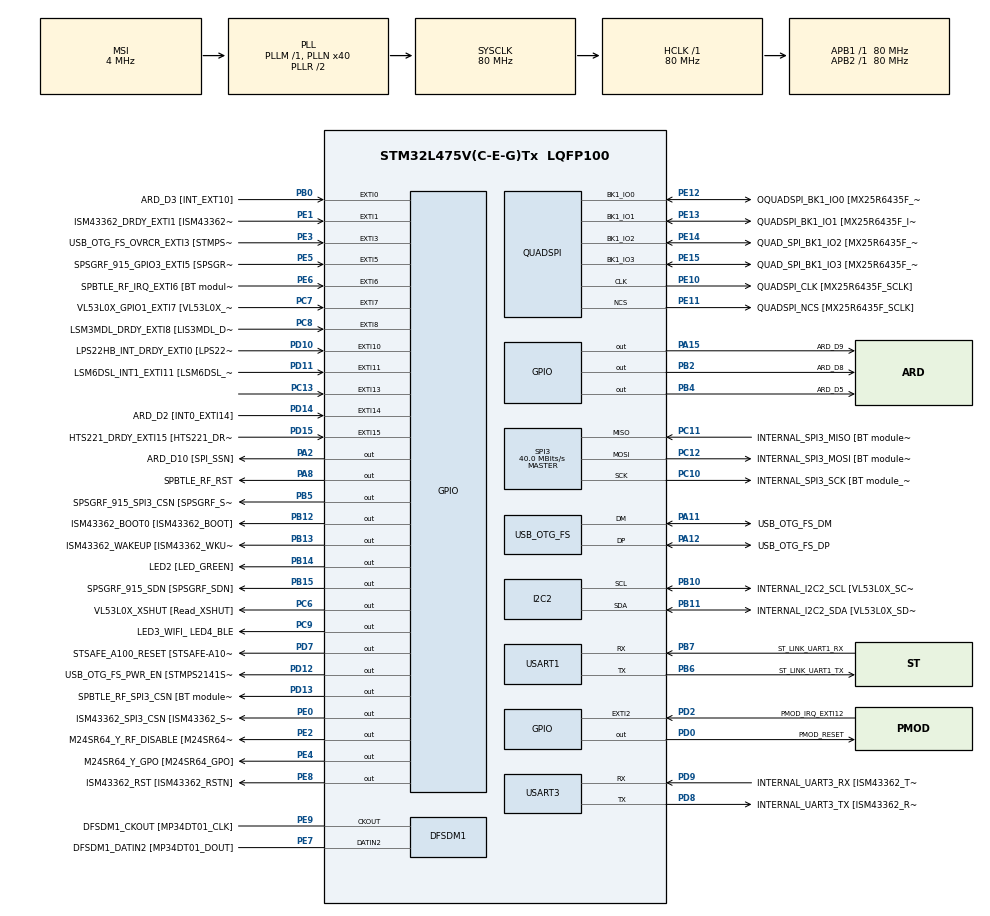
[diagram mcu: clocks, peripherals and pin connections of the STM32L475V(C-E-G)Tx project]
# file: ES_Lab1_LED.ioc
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FREERTOS.BinarySemaphores01=myBinarySem02,Dynamic,NULL,Available
FREERTOS.Mutexes01=myMutex01,Dynamic,NULL,Available
FREERTOS.Queues01=myQueue01,1,uint16_t,0,Dynamic,NULL,NULL
FREERTOS.Tasks01=myTask01,24,128,StartTask01,Default,NULL,Dynamic,NULL,NULL;myTask02,47,128,StartTask02,Default,NULL,Dynamic,NULL,NULL
FREERTOS.Timers01=myTimer01,Callback01,osTimerPeriodic,Default,NULL,Dynamic,NULL
I2C2.Timing=0x10D19CE4
Mcu.Family=STM32L4
Mcu.Name=STM32L475V(C-E-G)Tx
Mcu.Package=LQFP100
NVIC.EXTI15_10_IRQn=true\:5\:0\:false\:false\:true\:true\:true\:true\:true
NVIC.EXTI9_5_IRQn=true\:5\:0\:false\:false\:true\:true\:true\:true\:true
NVIC.PriorityGroup=NVIC_PRIORITYGROUP_4
PA0.GPIO_Label=ARD_D1 [UART4_TX]
PA0.Signal=UART4_TX
PA1.GPIO_Label=ARD_D0 [UART4_RX]
PA1.Signal=UART4_RX
PA10.GPIO_Label=USB_OTG_FS_ID
PA10.Signal=USB_OTG_FS_ID
PA11.GPIO_Label=USB_OTG_FS_DM
PA11.Mode=Device_Only
PA11.Signal=USB_OTG_FS_DM
PA12.GPIO_Label=USB_OTG_FS_DP
PA12.Mode=Device_Only
PA12.Signal=USB_OTG_FS_DP
PA13\ (JTMS-SWDIO).GPIO_Label=SYS_JTMS_SWDIO
PA13\ (JTMS-SWDIO).Mode=Serial_Wire
PA13\ (JTMS-SWDIO).Signal=SYS_JTMS-SWDIO
PA14\ (JTCK-SWCLK).GPIO_Label=SYS_JTCK_SWCLK
PA14\ (JTCK-SWCLK).Mode=Serial_Wire
PA14\ (JTCK-SWCLK).Signal=SYS_JTCK-SWCLK
PA15\ (JTDI).GPIO_Label=ARD_D9
PA15\ (JTDI).Signal=GPIO_Output
PA2.GPIO_Label=ARD_D10 [SPI_SSN]
PA2.Signal=GPIO_Output
PA3.GPIO_Label=ARD_D4
PA3.Signal=S_TIM2_CH4
PA4.GPIO_Label=ARD_D7
PA4.Signal=ADCx_IN9
PA5.GPIO_Label=ARD_D13 [SPI1_SCK]
PA5.Signal=SPI1_SCK
PA6.GPIO_Label=ARD_D12 [SPI1_MISO]
PA6.Signal=SPI1_MISO
PA7.GPIO_Label=ARD_D11 [SPI1_MOSI]
PA7.Signal=SPI1_MOSI
PA8.GPIO_Label=SPBTLE_RF_RST
PA8.Signal=GPIO_Output
PA9.GPIO_Label=USB_OTG_FS_VBUS [STMPS2141STR_OUT]
PA9.Signal=USB_OTG_FS_VBUS
PB0.GPIO_Label=ARD_D3 [INT_EXT10]
PB0.Signal=GPXTI0
PB1.GPIO_Label=ARD_D6 [ADC1_IN6]
PB1.Signal=ADCx_IN16
PB10.GPIO_Label=INTERNAL_I2C2_SCL [VL53L0X_SCL]
PB10.GPIO_Pu=GPIO_PULLUP
PB10.Mode=I2C
PB10.Signal=I2C2_SCL
PB11.GPIO_Label=INTERNAL_I2C2_SDA [VL53L0X_SDA]
PB11.GPIO_Pu=GPIO_PULLUP
PB11.Mode=I2C
PB11.Signal=I2C2_SDA
PB12.GPIO_Label=ISM43362_BOOT0 [ISM43362_BOOT]
PB12.Signal=GPIO_Output
PB13.GPIO_Label=ISM43362_WAKEUP [ISM43362_WKUP]
PB13.Signal=GPIO_Output
PB14.GPIO_Label=LED2 [LED_GREEN]
PB14.Signal=GPIO_Output
PB15.GPIO_Label=SPSGRF_915_SDN [SPSGRF_SDN]
PB15.Signal=GPIO_Output
PB2.GPIO_Label=ARD_D8
PB2.Signal=GPIO_Output
PB3\ (JTDO-TRACESWO).GPIO_Label=SYS_JTD0_SWO
PB3\ (JTDO-TRACESWO).Signal=SYS_JTDO-SWO
PB4\ (NJTRST).GPIO_Label=ARD_D5
PB4\ (NJTRST).Signal=GPIO_Output
PB5.GPIO_Label=SPSGRF_915_SPI3_CSN [SPSGRF_SPI_CS]
PB5.PinState=GPIO_PIN_SET
PB5.Signal=GPIO_Output
PB6.GPIO_Label=ST_LINK_UART1_TX
PB6.Mode=Asynchronous
PB6.Signal=USART1_TX
PB7.GPIO_Label=ST_LINK_UART1_RX
PB7.Mode=Asynchronous
PB7.Signal=USART1_RX
PB8.GPIO_Label=ARD_D15 [I2C1_SCL]
PB8.Signal=I2C1_SCL
PB9.GPIO_Label=ARD_D14 [I2C1_SDA]
PB9.Signal=I2C1_SDA
PC0.GPIO_Label=ARD_A5 [ADC]
PC0.Signal=ADCx_IN1
PC1.GPIO_Label=ARD_A4 [ADC]
PC1.Signal=ADCx_IN2
PC10.GPIO_Label=INTERNAL_SPI3_SCK [BT module_SPI_SCLK] [ISM43362_SCK]
PC10.Mode=Full_Duplex_Master
PC10.Signal=SPI3_SCK
PC11.GPIO_Label=INTERNAL_SPI3_MISO [BT module_SPI_MISO] [ISM43362_MISO]
PC11.Mode=Full_Duplex_Master
PC11.Signal=SPI3_MISO
PC12.GPIO_Label=INTERNAL_SPI3_MOSI [BT module_SPI_MOSI] [ISM43362_MOSI]
PC12.Mode=Full_Duplex_Master
PC12.Signal=SPI3_MOSI
PC13.GPIO_ModeDefaultEXTI=GPIO_MODE_IT_RISING_FALLING
PC13.Signal=GPXTI13
PC14-OSC32_IN\ (PC14).Mode=LSE-External-Oscillator
PC14-OSC32_IN\ (PC14).Signal=RCC_OSC32_IN
PC15-OSC32_OUT\ (PC15).Mode=LSE-External-Oscillator
PC15-OSC32_OUT\ (PC15).Signal=RCC_OSC32_OUT
PC2.GPIO_Label=ARD_A3 [ADC]
PC2.Signal=ADCx_IN3
PC3.GPIO_Label=ARD_A2 [ADC]
PC3.Signal=ADCx_IN4
PC4.GPIO_Label=ARD_A1 [ADC]
PC4.Signal=ADCx_IN13
PC5.GPIO_Label=ARD_A0 [ADC]
PC5.Signal=ADCx_IN14
PC6.GPIO_Label=VL53L0X_XSHUT [Read_XSHUT]
PC6.Signal=GPIO_Output
PC7.GPIO_Label=VL53L0X_GPIO1_EXTI7 [VL53L0X_GPIO1]
PC7.Signal=GPXTI7
PC8.GPIO_Label=LSM3MDL_DRDY_EXTI8 [LIS3MDL_DRDY]
PC8.Signal=GPXTI8
PC9.GPIO_Label=LED3_WIFI_ LED4_BLE
PC9.Signal=GPIO_Output
PD0.GPIO_Label=PMOD_RESET
PD0.Signal=GPIO_Output
PD1.GPIO_Label=PMOD_SPI2_SCK
PD1.Signal=SPI2_SCK
PD10.GPIO_Label=LPS22HB_INT_DRDY_EXTI0 [LPS22HB_INT_DRDY] 
PD10.Signal=GPXTI10
PD11.GPIO_Label=LSM6DSL_INT1_EXTI11 [LSM6DSL_INT1]
PD11.Signal=GPXTI11
PD12.GPIO_Label=USB_OTG_FS_PWR_EN [STMPS2141STR_EN]
PD12.Signal=GPIO_Output
PD13.GPIO_Label=SPBTLE_RF_SPI3_CSN [BT module_SPI_CS]
PD13.PinState=GPIO_PIN_SET
PD13.Signal=GPIO_Output
PD14.GPIO_Label=ARD_D2 [INT0_EXTI14]
PD14.Signal=GPXTI14
PD15.GPIO_Label=HTS221_DRDY_EXTI15 [HTS221_DRDY]
PD15.Signal=GPXTI15
PD2.GPIO_Label=PMOD_IRQ_EXTI12
PD2.Signal=GPXTI2
PD3.GPIO_Label=PMOD_UART2_CTS
PD3.Signal=USART2_CTS
PD4.GPIO_Label=PMOD_UART2_RTS
PD4.Signal=USART2_RTS
PD5.GPIO_Label=PMOD_UART2_TX
PD5.Signal=USART2_TX
PD6.GPIO_Label=PMOD_UART2_RX
PD6.Signal=USART2_RX
PD7.GPIO_Label=STSAFE_A100_RESET [STSAFE-A100_RESET]
PD7.Signal=GPIO_Output
PD8.GPIO_Label=INTERNAL_UART3_TX [ISM43362_RX]
PD8.Mode=Asynchronous
PD8.Signal=USART3_TX
PD9.GPIO_Label=INTERNAL_UART3_RX [ISM43362_TX]
PD9.Mode=Asynchronous
PD9.Signal=USART3_RX
PE0.GPIO_Label=ISM43362_SPI3_CSN [ISM43362_SSN]
PE0.PinState=GPIO_PIN_SET
PE0.Signal=GPIO_Output
PE1.GPIO_Label=ISM43362_DRDY_EXTI1 [ISM43362_DATARDY]
PE1.Signal=GPXTI1
PE10.GPIO_Label=QUADSPI_CLK [MX25R6435F_SCLK]
PE10.Mode=Single Bank
PE10.Signal=QUADSPI_CLK
PE11.GPIO_Label=QUADSPI_NCS [MX25R6435F_SCLK]
PE11.Mode=Single Bank
PE11.Signal=QUADSPI_NCS
PE12.GPIO_Label=OQUADSPI_BK1_IO0 [MX25R6435F_IO0]
PE12.Mode=Single Bank
PE12.Signal=QUADSPI_BK1_IO0
PE13.GPIO_Label=QUADSPI_BK1_IO1 [MX25R6435F_IO1]
PE13.Mode=Single Bank
PE13.Signal=QUADSPI_BK1_IO1
PE14.GPIO_Label=QUAD_SPI_BK1_IO2 [MX25R6435F_IO2]
PE14.Mode=Single Bank
PE14.Signal=QUADSPI_BK1_IO2
PE15.GPIO_Label=QUAD_SPI_BK1_IO3 [MX25R6435F_IO3]
PE15.Mode=Single Bank
PE15.Signal=QUADSPI_BK1_IO3
PE2.GPIO_Label=M24SR64_Y_RF_DISABLE [M24SR64_RFDIS]
PE2.Signal=GPIO_Output
PE3.GPIO_Label=USB_OTG_FS_OVRCR_EXTI3 [STMPS2141STR_FAULT]
PE3.Signal=GPXTI3
PE4.GPIO_Label=M24SR64_Y_GPO [M24SR64_GPO]
PE4.Signal=GPIO_Output
PE5.GPIO_Label=SPSGRF_915_GPIO3_EXTI5 [SPSGRF_GPIO_3]
PE5.Signal=GPXTI5
PE6.GPIO_Label=SPBTLE_RF_IRQ_EXTI6 [BT module_SPI_IRQ]
PE6.Signal=GPXTI6
PE7.GPIO_Label=DFSDM1_DATIN2 [MP34DT01_DOUT]
PE7.Signal=S_DATAIN2DFSDM1
PE8.GPIO_Label=ISM43362_RST [ISM43362_RSTN]
PE8.Signal=GPIO_Output
PE9.GPIO_Label=DFSDM1_CKOUT [MP34DT01_CLK]
PE9.Signal=S_CKOUTDFSDM1
ProjectManager.HeapSize=0x200
ProjectManager.StackSize=0x400
ProjectManager.TargetToolchain=STM32CubeIDE
QUADSPI.ClockPrescaler=2
QUADSPI.FifoThreshold=4
QUADSPI.FlashSize=23
QUADSPI.SampleShifting=QSPI_SAMPLE_SHIFTING_HALFCYCLE
RCC.ADCFreq_Value=48000000
RCC.AHBFreq_Value=80000000
RCC.APB1Freq_Value=80000000
RCC.APB1TimFreq_Value=80000000
RCC.APB2Freq_Value=80000000
RCC.APB2TimFreq_Value=80000000
RCC.CortexFreq_Value=80000000
RCC.HCLKFreq_Value=80000000
RCC.HSE_VALUE=8000000
RCC.HSI_VALUE=16000000
RCC.MSI_VALUE=4000000
RCC.PLLN=40
RCC.PLLSAI1N=24
RCC.SYSCLKFreq_VALUE=80000000
RCC.SYSCLKSource=RCC_SYSCLKSOURCE_PLLCLK
RCC.USBFreq_Value=48000000
RCC.VCOOutputFreq_Value=160000000
SH.ADCx_IN1.0=ADC1_IN1
SH.ADCx_IN13.0=ADC1_IN13
SH.ADCx_IN14.0=ADC1_IN14
SH.ADCx_IN16.0=ADC1_IN16
SH.ADCx_IN2.0=ADC1_IN2
SH.ADCx_IN3.0=ADC1_IN3
SH.ADCx_IN4.0=ADC1_IN4
SH.ADCx_IN9.0=ADC1_IN9
SH.S_CKOUTDFSDM1.0=DFSDM1_CKOUT,CKOUT
SH.S_CKOUTDFSDM1.1=DFSDM1_CKOUT,PDM_SPI_Input_from_ch12_and_Internal_Clock
SH.S_DATAIN2DFSDM1.0=DFSDM1_DATIN2,PDM_SPI_Input_from_ch12_and_Internal_Clock
SH.S_TIM2_CH4.0=TIM2_CH4
SPI3.CalculateBaudRate=40.0 MBits/s
SPI3.Direction=SPI_DIRECTION_2LINES
SPI3.Mode=SPI_MODE_MASTER
SPI3.VirtualType=VM_MASTER
USART1.VirtualMode-Asynchronous=VM_ASYNC
USART3.VirtualMode-Asynchronous=VM_ASYNC
USB_OTG_FS.VirtualMode=Device_Only
VP_FREERTOS_VS_CMSIS_V2.Mode=CMSIS_V2
board=B-L475E-IOT01A2

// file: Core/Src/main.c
/* USER CODE BEGIN Header */
/**
  ******************************************************************************
  * @file           : main.c
  * @brief          : Main program body
  ******************************************************************************
  * @attention
  *
  * Copyright (c) 2025 STMicroelectronics.
  * All rights reserved.
  *
  * This software is licensed under terms that can be found in the LICENSE file
  * in the root directory of this software component.
  * If no LICENSE file comes with this software, it is provided AS-IS.
  *
  ******************************************************************************
  */
/* USER CODE END Header */
#include "main.h"
#include "cmsis_os.h"

DFSDM_Channel_HandleTypeDef hdfsdm1_channel1;

I2C_HandleTypeDef hi2c2;

QSPI_HandleTypeDef hqspi;

SPI_HandleTypeDef hspi3;

UART_HandleTypeDef huart1;
UART_HandleTypeDef huart3;

PCD_HandleTypeDef hpcd_USB_OTG_FS;

/* Definitions for myTask01 */
osThreadId_t myTask01Handle;
const osThreadAttr_t myTask01_attributes = {
  .name = "myTask01",
  .stack_size = 128 * 4,
  .priority = (osPriority_t) osPriorityNormal,
};
/* Definitions for myTask02 */
osThreadId_t myTask02Handle;
const osThreadAttr_t myTask02_attributes = {
  .name = "myTask02",
  .stack_size = 128 * 4,
  .priority = (osPriority_t) osPriorityHigh7,
};
/* Definitions for myQueue01 */
osMessageQueueId_t myQueue01Handle;
const osMessageQueueAttr_t myQueue01_attributes = {
  .name = "myQueue01"
};
/* Definitions for myTimer01 */
osTimerId_t myTimer01Handle;
const osTimerAttr_t myTimer01_attributes = {
  .name = "myTimer01"
};
/* Definitions for myMutex01 */
osMutexId_t myMutex01Handle;
const osMutexAttr_t myMutex01_attributes = {
  .name = "myMutex01"
};
/* Definitions for myBinarySem02 */
osSemaphoreId_t myBinarySem02Handle;
const osSemaphoreAttr_t myBinarySem02_attributes = {
  .name = "myBinarySem02"
};
/* USER CODE BEGIN PV */
osThreadId_t buttonTaskHandle;
const osThreadAttr_t buttonTask_attributes = {
  .name = "buttonTask",
  .stack_size = 128 * 4,
  .priority = (osPriority_t) osPriorityHigh7,
};
/* USER CODE END PV */

void SystemClock_Config(void);
static void MX_GPIO_Init(void);
static void MX_DFSDM1_Init(void);
static void MX_I2C2_Init(void);
static void MX_QUADSPI_Init(void);
static void MX_SPI3_Init(void);
static void MX_USART1_UART_Init(void);
static void MX_USART3_UART_Init(void);
static void MX_USB_OTG_FS_PCD_Init(void);
void StartTask01(void *argument);
void StartTask02(void *argument);
void Callback01(void *argument);

/* USER CODE BEGIN 0 */
uint32_t timestamp;
uint16_t blink_mode;
/* USER CODE END 0 */

int main(void)
{

  /* MCU Configuration--------------------------------------------------------*/

  /* Reset of all peripherals, Initializes the Flash interface and the Systick. */
  HAL_Init();

  /* Configure the system clock */
  SystemClock_Config();

  /* Initialize all configured peripherals */
  MX_GPIO_Init();
  MX_DFSDM1_Init();
  MX_I2C2_Init();
  MX_QUADSPI_Init();
  MX_SPI3_Init();
  MX_USART1_UART_Init();
  MX_USART3_UART_Init();
  MX_USB_OTG_FS_PCD_Init();

  /* Init scheduler */
  osKernelInitialize();
  /* Create the mutex(es) */
  /* creation of myMutex01 */
  myMutex01Handle = osMutexNew(&myMutex01_attributes);

  /* Create the semaphores(s) */
  /* creation of myBinarySem02 */
  myBinarySem02Handle = osSemaphoreNew(1, 1, &myBinarySem02_attributes);

  /* Create the timer(s) */
  /* creation of myTimer01 */
  myTimer01Handle = osTimerNew(Callback01, osTimerPeriodic, NULL, &myTimer01_attributes);

  /* USER CODE BEGIN RTOS_TIMERS */
  /* start timers, add new ones, ... */
  osTimerStart(myTimer01Handle, 10000);
  /* USER CODE END RTOS_TIMERS */

  /* Create the queue(s) */
  /* creation of myQueue01 */
  myQueue01Handle = osMessageQueueNew (1, sizeof(uint16_t), &myQueue01_attributes);

  /* Create the thread(s) */
  /* creation of myTask01 */
  myTask01Handle = osThreadNew(StartTask01, NULL, &myTask01_attributes);

  /* creation of myTask02 */
  myTask02Handle = osThreadNew(StartTask02, NULL, &myTask02_attributes);

  /* USER CODE BEGIN RTOS_THREADS */
  /* add threads, ... */
  //buttonTaskHandle = osThreadNew(StartButtonTask, NULL, &buttonTask_attributes);
  /* USER CODE END RTOS_THREADS */

  /* Start scheduler */
  osKernelStart();

  /* We should never get here as control is now taken by the scheduler */

  /* Infinite loop */
  while (1)
  {

  }
}

void SystemClock_Config(void)
{
  RCC_OscInitTypeDef RCC_OscInitStruct = {0};
  RCC_ClkInitTypeDef RCC_ClkInitStruct = {0};

  /** Configure the main internal regulator output voltage
  */
  if (HAL_PWREx_ControlVoltageScaling(PWR_REGULATOR_VOLTAGE_SCALE1) != HAL_OK)
  {
    Error_Handler();
  }

  /** Configure LSE Drive Capability
  */
  HAL_PWR_EnableBkUpAccess();
  __HAL_RCC_LSEDRIVE_CONFIG(RCC_LSEDRIVE_LOW);

  /** Initializes the RCC Oscillators according to the specified parameters
  * in the RCC_OscInitTypeDef structure.
  */
  RCC_OscInitStruct.OscillatorType = RCC_OSCILLATORTYPE_LSE|RCC_OSCILLATORTYPE_MSI;
  RCC_OscInitStruct.LSEState = RCC_LSE_ON;
  RCC_OscInitStruct.MSIState = RCC_MSI_ON;
  RCC_OscInitStruct.MSICalibrationValue = 0;
  RCC_OscInitStruct.MSIClockRange = RCC_MSIRANGE_6;
  RCC_OscInitStruct.PLL.PLLState = RCC_PLL_ON;
  RCC_OscInitStruct.PLL.PLLSource = RCC_PLLSOURCE_MSI;
  RCC_OscInitStruct.PLL.PLLM = 1;
  RCC_OscInitStruct.PLL.PLLN = 40;
  RCC_OscInitStruct.PLL.PLLP = RCC_PLLP_DIV7;
  RCC_OscInitStruct.PLL.PLLQ = RCC_PLLQ_DIV2;
  RCC_OscInitStruct.PLL.PLLR = RCC_PLLR_DIV2;
  if (HAL_RCC_OscConfig(&RCC_OscInitStruct) != HAL_OK)
  {
    Error_Handler();
  }

  /** Initializes the CPU, AHB and APB buses clocks
  */
  RCC_ClkInitStruct.ClockType = RCC_CLOCKTYPE_HCLK|RCC_CLOCKTYPE_SYSCLK
                              |RCC_CLOCKTYPE_PCLK1|RCC_CLOCKTYPE_PCLK2;
  RCC_ClkInitStruct.SYSCLKSource = RCC_SYSCLKSOURCE_PLLCLK;
  RCC_ClkInitStruct.AHBCLKDivider = RCC_SYSCLK_DIV1;
  RCC_ClkInitStruct.APB1CLKDivider = RCC_HCLK_DIV1;
  RCC_ClkInitStruct.APB2CLKDivider = RCC_HCLK_DIV1;

  if (HAL_RCC_ClockConfig(&RCC_ClkInitStruct, FLASH_LATENCY_4) != HAL_OK)
  {
    Error_Handler();
  }

  /** Enable MSI Auto calibration
  */
  HAL_RCCEx_EnableMSIPLLMode();
}

static void MX_DFSDM1_Init(void)
{

  hdfsdm1_channel1.Instance = DFSDM1_Channel1;
  hdfsdm1_channel1.Init.OutputClock.Activation = ENABLE;
  hdfsdm1_channel1.Init.OutputClock.Selection = DFSDM_CHANNEL_OUTPUT_CLOCK_SYSTEM;
  hdfsdm1_channel1.Init.OutputClock.Divider = 2;
  hdfsdm1_channel1.Init.Input.Multiplexer = DFSDM_CHANNEL_EXTERNAL_INPUTS;
  hdfsdm1_channel1.Init.Input.DataPacking = DFSDM_CHANNEL_STANDARD_MODE;
  hdfsdm1_channel1.Init.Input.Pins = DFSDM_CHANNEL_FOLLOWING_CHANNEL_PINS;
  hdfsdm1_channel1.Init.SerialInterface.Type = DFSDM_CHANNEL_SPI_RISING;
  hdfsdm1_channel1.Init.SerialInterface.SpiClock = DFSDM_CHANNEL_SPI_CLOCK_INTERNAL;
  hdfsdm1_channel1.Init.Awd.FilterOrder = DFSDM_CHANNEL_FASTSINC_ORDER;
  hdfsdm1_channel1.Init.Awd.Oversampling = 1;
  hdfsdm1_channel1.Init.Offset = 0;
  hdfsdm1_channel1.Init.RightBitShift = 0x00;
  if (HAL_DFSDM_ChannelInit(&hdfsdm1_channel1) != HAL_OK)
  {
    Error_Handler();
  }

}

static void MX_I2C2_Init(void)
{

  hi2c2.Instance = I2C2;
  hi2c2.Init.Timing = 0x10D19CE4;
  hi2c2.Init.OwnAddress1 = 0;
  hi2c2.Init.AddressingMode = I2C_ADDRESSINGMODE_7BIT;
  hi2c2.Init.DualAddressMode = I2C_DUALADDRESS_DISABLE;
  hi2c2.Init.OwnAddress2 = 0;
  hi2c2.Init.OwnAddress2Masks = I2C_OA2_NOMASK;
  hi2c2.Init.GeneralCallMode = I2C_GENERALCALL_DISABLE;
  hi2c2.Init.NoStretchMode = I2C_NOSTRETCH_DISABLE;
  if (HAL_I2C_Init(&hi2c2) != HAL_OK)
  {
    Error_Handler();
  }

  /** Configure Analogue filter
  */
  if (HAL_I2CEx_ConfigAnalogFilter(&hi2c2, I2C_ANALOGFILTER_ENABLE) != HAL_OK)
  {
    Error_Handler();
  }

  /** Configure Digital filter
  */
  if (HAL_I2CEx_ConfigDigitalFilter(&hi2c2, 0) != HAL_OK)
  {
    Error_Handler();
  }

}

static void MX_QUADSPI_Init(void)
{

  /* QUADSPI parameter configuration*/
  hqspi.Instance = QUADSPI;
  hqspi.Init.ClockPrescaler = 2;
  hqspi.Init.FifoThreshold = 4;
  hqspi.Init.SampleShifting = QSPI_SAMPLE_SHIFTING_HALFCYCLE;
  hqspi.Init.FlashSize = 23;
  hqspi.Init.ChipSelectHighTime = QSPI_CS_HIGH_TIME_1_CYCLE;
  hqspi.Init.ClockMode = QSPI_CLOCK_MODE_0;
  if (HAL_QSPI_Init(&hqspi) != HAL_OK)
  {
    Error_Handler();
  }

}

static void MX_SPI3_Init(void)
{

  /* SPI3 parameter configuration*/
  hspi3.Instance = SPI3;
  hspi3.Init.Mode = SPI_MODE_MASTER;
  hspi3.Init.Direction = SPI_DIRECTION_2LINES;
  hspi3.Init.DataSize = SPI_DATASIZE_4BIT;
  hspi3.Init.CLKPolarity = SPI_POLARITY_LOW;
  hspi3.Init.CLKPhase = SPI_PHASE_1EDGE;
  hspi3.Init.NSS = SPI_NSS_SOFT;
  hspi3.Init.BaudRatePrescaler = SPI_BAUDRATEPRESCALER_2;
  hspi3.Init.FirstBit = SPI_FIRSTBIT_MSB;
  hspi3.Init.TIMode = SPI_TIMODE_DISABLE;
  hspi3.Init.CRCCalculation = SPI_CRCCALCULATION_DISABLE;
  hspi3.Init.CRCPolynomial = 7;
  hspi3.Init.CRCLength = SPI_CRC_LENGTH_DATASIZE;
  hspi3.Init.NSSPMode = SPI_NSS_PULSE_ENABLE;
  if (HAL_SPI_Init(&hspi3) != HAL_OK)
  {
    Error_Handler();
  }

}

static void MX_USART1_UART_Init(void)
{

  huart1.Instance = USART1;
  huart1.Init.BaudRate = 115200;
  huart1.Init.WordLength = UART_WORDLENGTH_8B;
  huart1.Init.StopBits = UART_STOPBITS_1;
  huart1.Init.Parity = UART_PARITY_NONE;
  huart1.Init.Mode = UART_MODE_TX_RX;
  huart1.Init.HwFlowCtl = UART_HWCONTROL_NONE;
  huart1.Init.OverSampling = UART_OVERSAMPLING_16;
  huart1.Init.OneBitSampling = UART_ONE_BIT_SAMPLE_DISABLE;
  huart1.AdvancedInit.AdvFeatureInit = UART_ADVFEATURE_NO_INIT;
  if (HAL_UART_Init(&huart1) != HAL_OK)
  {
    Error_Handler();
  }

}

static void MX_USART3_UART_Init(void)
{

  huart3.Instance = USART3;
  huart3.Init.BaudRate = 115200;
  huart3.Init.WordLength = UART_WORDLENGTH_8B;
  huart3.Init.StopBits = UART_STOPBITS_1;
  huart3.Init.Parity = UART_PARITY_NONE;
  huart3.Init.Mode = UART_MODE_TX_RX;
  huart3.Init.HwFlowCtl = UART_HWCONTROL_NONE;
  huart3.Init.OverSampling = UART_OVERSAMPLING_16;
  huart3.Init.OneBitSampling = UART_ONE_BIT_SAMPLE_DISABLE;
  huart3.AdvancedInit.AdvFeatureInit = UART_ADVFEATURE_NO_INIT;
  if (HAL_UART_Init(&huart3) != HAL_OK)
  {
    Error_Handler();
  }

}

static void MX_USB_OTG_FS_PCD_Init(void)
{

  hpcd_USB_OTG_FS.Instance = USB_OTG_FS;
  hpcd_USB_OTG_FS.Init.dev_endpoints = 6;
  hpcd_USB_OTG_FS.Init.speed = PCD_SPEED_FULL;
  hpcd_USB_OTG_FS.Init.phy_itface = PCD_PHY_EMBEDDED;
  hpcd_USB_OTG_FS.Init.Sof_enable = DISABLE;
  hpcd_USB_OTG_FS.Init.low_power_enable = DISABLE;
  hpcd_USB_OTG_FS.Init.lpm_enable = DISABLE;
  hpcd_USB_OTG_FS.Init.battery_charging_enable = DISABLE;
  hpcd_USB_OTG_FS.Init.use_dedicated_ep1 = DISABLE;
  hpcd_USB_OTG_FS.Init.vbus_sensing_enable = DISABLE;
  if (HAL_PCD_Init(&hpcd_USB_OTG_FS) != HAL_OK)
  {
    Error_Handler();
  }

}

static void MX_GPIO_Init(void)
{
  GPIO_InitTypeDef GPIO_InitStruct = {0};

  /* GPIO Ports Clock Enable */
  __HAL_RCC_GPIOE_CLK_ENABLE();
  __HAL_RCC_GPIOC_CLK_ENABLE();
  __HAL_RCC_GPIOA_CLK_ENABLE();
  __HAL_RCC_GPIOB_CLK_ENABLE();
  __HAL_RCC_GPIOD_CLK_ENABLE();

  /*Configure GPIO pin Output Level */
  HAL_GPIO_WritePin(GPIOE, M24SR64_Y_RF_DISABLE_Pin|M24SR64_Y_GPO_Pin|ISM43362_RST_Pin, GPIO_PIN_RESET);

  /*Configure GPIO pin Output Level */
  HAL_GPIO_WritePin(GPIOA, ARD_D10_Pin|SPBTLE_RF_RST_Pin|ARD_D9_Pin, GPIO_PIN_RESET);

  /*Configure GPIO pin Output Level */
  HAL_GPIO_WritePin(GPIOB, ARD_D8_Pin|ISM43362_BOOT0_Pin|ISM43362_WAKEUP_Pin|LED2_Pin
                          |SPSGRF_915_SDN_Pin|ARD_D5_Pin, GPIO_PIN_RESET);

  /*Configure GPIO pin Output Level */
  HAL_GPIO_WritePin(GPIOD, USB_OTG_FS_PWR_EN_Pin|PMOD_RESET_Pin|STSAFE_A100_RESET_Pin, GPIO_PIN_RESET);

  /*Configure GPIO pin Output Level */
  HAL_GPIO_WritePin(SPBTLE_RF_SPI3_CSN_GPIO_Port, SPBTLE_RF_SPI3_CSN_Pin, GPIO_PIN_SET);

  /*Configure GPIO pin Output Level */
  HAL_GPIO_WritePin(GPIOC, VL53L0X_XSHUT_Pin|LED3_WIFI__LED4_BLE_Pin, GPIO_PIN_RESET);

  /*Configure GPIO pin Output Level */
  HAL_GPIO_WritePin(SPSGRF_915_SPI3_CSN_GPIO_Port, SPSGRF_915_SPI3_CSN_Pin, GPIO_PIN_SET);

  /*Configure GPIO pin Output Level */
  HAL_GPIO_WritePin(ISM43362_SPI3_CSN_GPIO_Port, ISM43362_SPI3_CSN_Pin, GPIO_PIN_SET);

  /*Configure GPIO pins : M24SR64_Y_RF_DISABLE_Pin M24SR64_Y_GPO_Pin ISM43362_RST_Pin ISM43362_SPI3_CSN_Pin */
  GPIO_InitStruct.Pin = M24SR64_Y_RF_DISABLE_Pin|M24SR64_Y_GPO_Pin|ISM43362_RST_Pin|ISM43362_SPI3_CSN_Pin;
  GPIO_InitStruct.Mode = GPIO_MODE_OUTPUT_PP;
  GPIO_InitStruct.Pull = GPIO_NOPULL;
  GPIO_InitStruct.Speed = GPIO_SPEED_FREQ_LOW;
  HAL_GPIO_Init(GPIOE, &GPIO_InitStruct);

  /*Configure GPIO pins : USB_OTG_FS_OVRCR_EXTI3_Pin SPSGRF_915_GPIO3_EXTI5_Pin SPBTLE_RF_IRQ_EXTI6_Pin ISM43362_DRDY_EXTI1_Pin */
  GPIO_InitStruct.Pin = USB_OTG_FS_OVRCR_EXTI3_Pin|SPSGRF_915_GPIO3_EXTI5_Pin|SPBTLE_RF_IRQ_EXTI6_Pin|ISM43362_DRDY_EXTI1_Pin;
  GPIO_InitStruct.Mode = GPIO_MODE_IT_RISING;
  GPIO_InitStruct.Pull = GPIO_NOPULL;
  HAL_GPIO_Init(GPIOE, &GPIO_InitStruct);

  /*Configure GPIO pin : PC13 */
  GPIO_InitStruct.Pin = GPIO_PIN_13;
  GPIO_InitStruct.Mode = GPIO_MODE_IT_RISING_FALLING;
  GPIO_InitStruct.Pull = GPIO_NOPULL;
  HAL_GPIO_Init(GPIOC, &GPIO_InitStruct);

  /*Configure GPIO pins : ARD_A5_Pin ARD_A4_Pin ARD_A3_Pin ARD_A2_Pin
                           ARD_A1_Pin ARD_A0_Pin */
  GPIO_InitStruct.Pin = ARD_A5_Pin|ARD_A4_Pin|ARD_A3_Pin|ARD_A2_Pin
                          |ARD_A1_Pin|ARD_A0_Pin;
  GPIO_InitStruct.Mode = GPIO_MODE_ANALOG_ADC_CONTROL;
  GPIO_InitStruct.Pull = GPIO_NOPULL;
  HAL_GPIO_Init(GPIOC, &GPIO_InitStruct);

  /*Configure GPIO pins : ARD_D1_Pin ARD_D0_Pin */
  GPIO_InitStruct.Pin = ARD_D1_Pin|ARD_D0_Pin;
  GPIO_InitStruct.Mode = GPIO_MODE_AF_PP;
  GPIO_InitStruct.Pull = GPIO_NOPULL;
  GPIO_InitStruct.Speed = GPIO_SPEED_FREQ_VERY_HIGH;
  GPIO_InitStruct.Alternate = GPIO_AF8_UART4;
  HAL_GPIO_Init(GPIOA, &GPIO_InitStruct);

  /*Configure GPIO pins : ARD_D10_Pin SPBTLE_RF_RST_Pin ARD_D9_Pin */
  GPIO_InitStruct.Pin = ARD_D10_Pin|SPBTLE_RF_RST_Pin|ARD_D9_Pin;
  GPIO_InitStruct.Mode = GPIO_MODE_OUTPUT_PP;
  GPIO_InitStruct.Pull = GPIO_NOPULL;
  GPIO_InitStruct.Speed = GPIO_SPEED_FREQ_LOW;
  HAL_GPIO_Init(GPIOA, &GPIO_InitStruct);

  /*Configure GPIO pin : ARD_D4_Pin */
  GPIO_InitStruct.Pin = ARD_D4_Pin;
  GPIO_InitStruct.Mode = GPIO_MODE_AF_PP;
  GPIO_InitStruct.Pull = GPIO_NOPULL;
  GPIO_InitStruct.Speed = GPIO_SPEED_FREQ_LOW;
  GPIO_InitStruct.Alternate = GPIO_AF1_TIM2;
  HAL_GPIO_Init(ARD_D4_GPIO_Port, &GPIO_InitStruct);

  /*Configure GPIO pin : ARD_D7_Pin */
  GPIO_InitStruct.Pin = ARD_D7_Pin;
  GPIO_InitStruct.Mode = GPIO_MODE_ANALOG_ADC_CONTROL;
  GPIO_InitStruct.Pull = GPIO_NOPULL;
  HAL_GPIO_Init(ARD_D7_GPIO_Port, &GPIO_InitStruct);

  /*Configure GPIO pins : ARD_D13_Pin ARD_D12_Pin ARD_D11_Pin */
  GPIO_InitStruct.Pin = ARD_D13_Pin|ARD_D12_Pin|ARD_D11_Pin;
  GPIO_InitStruct.Mode = GPIO_MODE_AF_PP;
  GPIO_InitStruct.Pull = GPIO_NOPULL;
  GPIO_InitStruct.Speed = GPIO_SPEED_FREQ_VERY_HIGH;
  GPIO_InitStruct.Alternate = GPIO_AF5_SPI1;
  HAL_GPIO_Init(GPIOA, &GPIO_InitStruct);

  /*Configure GPIO pin : ARD_D3_Pin */
  GPIO_InitStruct.Pin = ARD_D3_Pin;
  GPIO_InitStruct.Mode = GPIO_MODE_IT_RISING;
  GPIO_InitStruct.Pull = GPIO_NOPULL;
  HAL_GPIO_Init(ARD_D3_GPIO_Port, &GPIO_InitStruct);

  /*Configure GPIO pin : ARD_D6_Pin */
  GPIO_InitStruct.Pin = ARD_D6_Pin;
  GPIO_InitStruct.Mode = GPIO_MODE_ANALOG_ADC_CONTROL;
  GPIO_InitStruct.Pull = GPIO_NOPULL;
  HAL_GPIO_Init(ARD_D6_GPIO_Port, &GPIO_InitStruct);

  /*Configure GPIO pins : ARD_D8_Pin ISM43362_BOOT0_Pin ISM43362_WAKEUP_Pin LED2_Pin
                           SPSGRF_915_SDN_Pin ARD_D5_Pin SPSGRF_915_SPI3_CSN_Pin */
  GPIO_InitStruct.Pin = ARD_D8_Pin|ISM43362_BOOT0_Pin|ISM43362_WAKEUP_Pin|LED2_Pin
                          |SPSGRF_915_SDN_Pin|ARD_D5_Pin|SPSGRF_915_SPI3_CSN_Pin;
  GPIO_InitStruct.Mode = GPIO_MODE_OUTPUT_PP;
  GPIO_InitStruct.Pull = GPIO_NOPULL;
  GPIO_InitStruct.Speed = GPIO_SPEED_FREQ_LOW;
  HAL_GPIO_Init(GPIOB, &GPIO_InitStruct);

  /*Configure GPIO pins : LPS22HB_INT_DRDY_EXTI0_Pin LSM6DSL_INT1_EXTI11_Pin ARD_D2_Pin HTS221_DRDY_EXTI15_Pin
                           PMOD_IRQ_EXTI12_Pin */
  GPIO_InitStruct.Pin = LPS22HB_INT_DRDY_EXTI0_Pin|LSM6DSL_INT1_EXTI11_Pin|ARD_D2_Pin|HTS221_DRDY_EXTI15_Pin
                          |PMOD_IRQ_EXTI12_Pin;
  GPIO_InitStruct.Mode = GPIO_MODE_IT_RISING;
  GPIO_InitStruct.Pull = GPIO_NOPULL;
  HAL_GPIO_Init(GPIOD, &GPIO_InitStruct);

  /*Configure GPIO pins : USB_OTG_FS_PWR_EN_Pin SPBTLE_RF_SPI3_CSN_Pin PMOD_RESET_Pin STSAFE_A100_RESET_Pin */
  GPIO_InitStruct.Pin = USB_OTG_FS_PWR_EN_Pin|SPBTLE_RF_SPI3_CSN_Pin|PMOD_RESET_Pin|STSAFE_A100_RESET_Pin;
  GPIO_InitStruct.Mode = GPIO_MODE_OUTPUT_PP;
  GPIO_InitStruct.Pull = GPIO_NOPULL;
  GPIO_InitStruct.Speed = GPIO_SPEED_FREQ_LOW;
  HAL_GPIO_Init(GPIOD, &GPIO_InitStruct);

  /*Configure GPIO pins : VL53L0X_XSHUT_Pin LED3_WIFI__LED4_BLE_Pin */
  GPIO_InitStruct.Pin = VL53L0X_XSHUT_Pin|LED3_WIFI__LED4_BLE_Pin;
  GPIO_InitStruct.Mode = GPIO_MODE_OUTPUT_PP;
  GPIO_InitStruct.Pull = GPIO_NOPULL;
  GPIO_InitStruct.Speed = GPIO_SPEED_FREQ_LOW;
  HAL_GPIO_Init(GPIOC, &GPIO_InitStruct);

  /*Configure GPIO pins : VL53L0X_GPIO1_EXTI7_Pin LSM3MDL_DRDY_EXTI8_Pin */
  GPIO_InitStruct.Pin = VL53L0X_GPIO1_EXTI7_Pin|LSM3MDL_DRDY_EXTI8_Pin;
  GPIO_InitStruct.Mode = GPIO_MODE_IT_RISING;
  GPIO_InitStruct.Pull = GPIO_NOPULL;
  HAL_GPIO_Init(GPIOC, &GPIO_InitStruct);

  /*Configure GPIO pin : PMOD_SPI2_SCK_Pin */
  GPIO_InitStruct.Pin = PMOD_SPI2_SCK_Pin;
  GPIO_InitStruct.Mode = GPIO_MODE_AF_PP;
  GPIO_InitStruct.Pull = GPIO_NOPULL;
  GPIO_InitStruct.Speed = GPIO_SPEED_FREQ_VERY_HIGH;
  GPIO_InitStruct.Alternate = GPIO_AF5_SPI2;
  HAL_GPIO_Init(PMOD_SPI2_SCK_GPIO_Port, &GPIO_InitStruct);

  /*Configure GPIO pins : PMOD_UART2_CTS_Pin PMOD_UART2_RTS_Pin PMOD_UART2_TX_Pin PMOD_UART2_RX_Pin */
  GPIO_InitStruct.Pin = PMOD_UART2_CTS_Pin|PMOD_UART2_RTS_Pin|PMOD_UART2_TX_Pin|PMOD_UART2_RX_Pin;
  GPIO_InitStruct.Mode = GPIO_MODE_AF_PP;
  GPIO_InitStruct.Pull = GPIO_NOPULL;
  GPIO_InitStruct.Speed = GPIO_SPEED_FREQ_VERY_HIGH;
  GPIO_InitStruct.Alternate = GPIO_AF7_USART2;
  HAL_GPIO_Init(GPIOD, &GPIO_InitStruct);

  /*Configure GPIO pins : ARD_D15_Pin ARD_D14_Pin */
  GPIO_InitStruct.Pin = ARD_D15_Pin|ARD_D14_Pin;
  GPIO_InitStruct.Mode = GPIO_MODE_AF_OD;
  GPIO_InitStruct.Pull = GPIO_NOPULL;
  GPIO_InitStruct.Speed = GPIO_SPEED_FREQ_VERY_HIGH;
  GPIO_InitStruct.Alternate = GPIO_AF4_I2C1;
  HAL_GPIO_Init(GPIOB, &GPIO_InitStruct);

  /* EXTI interrupt init*/
  HAL_NVIC_SetPriority(EXTI9_5_IRQn, 5, 0);
  HAL_NVIC_EnableIRQ(EXTI9_5_IRQn);

  HAL_NVIC_SetPriority(EXTI15_10_IRQn, 5, 0);
  HAL_NVIC_EnableIRQ(EXTI15_10_IRQn);

}

/* USER CODE BEGIN 4 */

void HAL_GPIO_EXTI_Callback(uint16_t GPIO_Pin)
{
	switch (GPIO_Pin)
  {
  case GPIO_PIN_13:
	  //HAL_GPIO_TogglePin(GPIOB, LED2_Pin);
	  if (!HAL_GPIO_ReadPin(GPIOC, GPIO_PIN_13)) //button press
	  {
		  timestamp = HAL_GetTick();
	  }
	  else //button release
	  {
		  blink_mode = (HAL_GetTick() - timestamp >= 1000);
		  osMessageQueuePut(myQueue01Handle, &blink_mode, NULL, 0);
	  }
    break;
  default:
    break;
  }
}
/* USER CODE END 4 */

void StartTask01(void *argument)
{
  /* USER CODE BEGIN 5 */
  /* Infinite loop */
	uint16_t blink_mode_rcv;
  for(;;)
  {
	  osMessageQueueGet(myQueue01Handle, &blink_mode_rcv, NULL, osWaitForever);
	  osMutexAcquire(myMutex01Handle, osWaitForever);
	  if (blink_mode_rcv)
	  {
		  for(int i=0; i<100; i++)
		  {
			  HAL_GPIO_TogglePin(GPIOB, LED2_Pin);
			  osDelay(50);
		  }
	  }
	  else
	  {
		  for(int i=0; i<10; i++)
		  {
			  HAL_GPIO_TogglePin(GPIOB, LED2_Pin);
			  osDelay(500);
		  }
	  }
	  osMutexRelease(myMutex01Handle);
  }
  /* USER CODE END 5 */
}

void StartTask02(void *argument)
{
  /* USER CODE BEGIN StartTask02 */
  /* Infinite loop */
  for(;;)
  {
	  osSemaphoreAcquire(myBinarySem02Handle, osWaitForever);
	  osMutexAcquire(myMutex01Handle, osWaitForever);
	  for(int i=0; i<40; i++)
	  {
		  HAL_GPIO_TogglePin(GPIOB, LED2_Pin);
		  osDelay(50);
	  }
	  osMutexRelease(myMutex01Handle);
  }
  /* USER CODE END StartTask02 */
}

/* Callback01 function */
void Callback01(void *argument)
{
  /* USER CODE BEGIN Callback01 */
	osSemaphoreRelease(myBinarySem02Handle);
  /* USER CODE END Callback01 */
}

void Error_Handler(void)
{
  __disable_irq();
  while (1)
  {
  }
}
